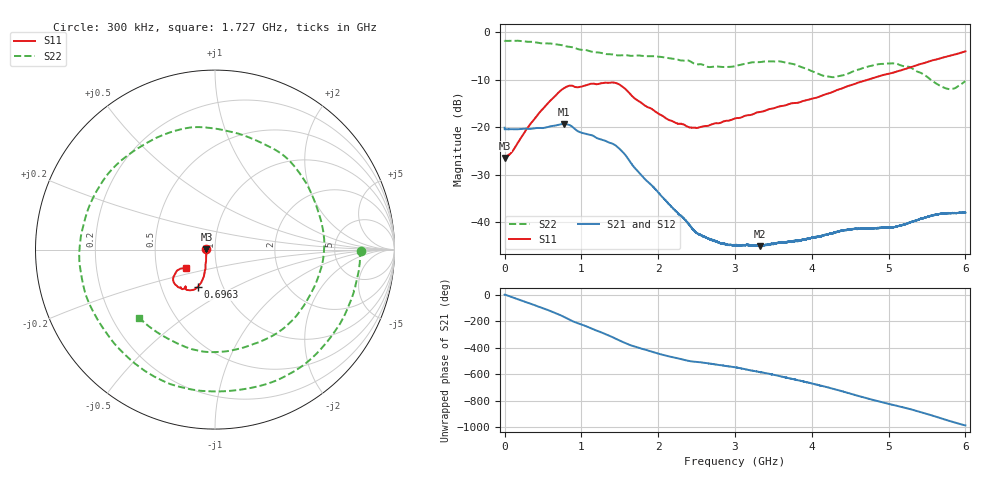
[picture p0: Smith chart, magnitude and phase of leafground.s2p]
!  8/6/2020  03:36:50
! Ref Plane: 0.000 mm
# MHZ S MA R  50
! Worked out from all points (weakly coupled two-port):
!   10001 points, 300 kHz to 6 GHz, reference 50 ohm
!   highest |S21| = -19.28 dB at 768.9 MHz (marker M1); lowest = -45.0 dB at 3.328 GHz (marker M2)
!   lowest |S11| = -26.4 dB at 300 kHz (marker M3), VSWR 1.10, Z = 45.5 + j0.0848 ohm
!   |S11| at or under -10 dB: start of sweep to 4.732 GHz
!   |S22| runs from -12.0 to -1.8 dB; largest |S21 - S12| = 0.0025
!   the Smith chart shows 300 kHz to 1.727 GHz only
!   S11 on the Smith chart (normalised r, x): 300 kHz: 0.91, +0.00; 696.3 MHz: 0.76, -0.33; 1.727 GHz: 0.71, -0.15
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0.3  0.04762 178.9  0.0989 -0.9  0.09645 -0.9  0.8158 -0.4
321.284  0.1042 -120.4  0.09606 -66.3  0.09617 -66.3  0.791 -97.2
516.2742  0.1619 -112.5  0.09853 -106.9  0.09863 -107.0  0.7617 -154.1
696.2652  0.229 -115.0  0.1058 -148.0  0.106 -148.0  0.7378 155.8
768.8616  0.2554 -118.5  0.1086 -167.5  0.1086 -167.5  0.7191 134.9
1000.45  0.2672 -127.5  0.08767 133.9  0.08764 133.9  0.6496 67.8
1280.036  0.2913 -133.5  0.07344 69.4  0.07345 69.4  0.5973 -12.6
1512.824  0.2739 -147.0  0.05756 8.4  0.05772 8.4  0.5688 -79.8
1727.014  0.1923 -147.8  0.03509 -38.3  0.03505 -38.4  0.5672 -138.0
2000.6  0.1389 -136.4  0.02067 -85.8  0.02068 -85.9  0.5517 152.2
2256.187  0.1093 -115.8  0.01248 -122.2  0.01252 -122.2  0.5134 87.6
2548.973  0.1004 -86.0  0.007393 -151.2  0.007448 -151.1  0.4597 6.0
2783.561  0.11 -66.7  0.006155 -171.2  0.00622 -170.9  0.434 -66.0
3000.15  0.1238 -51.9  0.005744 170.9  0.005794 171.0  0.4371 -131.8
3328.334  0.145 -34.3  0.005639 134.6  0.005701 134.3  0.4838 143.0
3618.119  0.1676 -21.6  0.006189 99.3  0.006209 99.2  0.4868 75.9
4000.3  0.199 -4.8  0.006923 49.2  0.006937 48.8  0.3884 -21.9
4236.688  0.2292 5.7  0.007664 14.8  0.007621 15.2  0.3386 -98.1
4511.474  0.2773 13.7  0.008503 -29.7  0.008469 -29.4  0.3774 172.6
5000.45  0.3646 22.9  0.008905 -105.5  0.008823 -105.6  0.4671 55.1
5531.423  0.4933 29.6  0.01166 173.2  0.01159 173.2  0.3239 -69.8
6000  0.6267 28.5  0.01268 92.0  0.01274 92.3  0.3046 122.3
